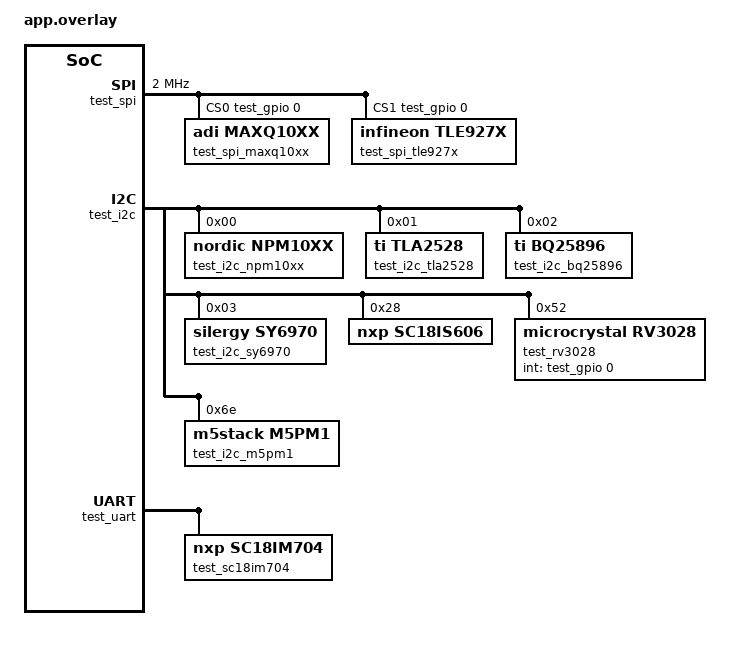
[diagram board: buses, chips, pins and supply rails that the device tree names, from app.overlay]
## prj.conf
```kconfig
CONFIG_TEST=y
CONFIG_GPIO=y
CONFIG_TEST_USERSPACE=y
CONFIG_I2C=y
CONFIG_SPI=y
CONFIG_MFD=y
CONFIG_ENTROPY_GENERATOR=y
CONFIG_SERIAL=y
CONFIG_UART_USE_RUNTIME_CONFIGURE=y
```

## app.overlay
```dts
/*
 * Copyright (c) 2023, Basalte bv
 *
 * SPDX-License-Identifier: Apache-2.0
 *
 * Application overlay for testing driver builds
 *
 * Names in this file should be chosen in a way that won't conflict
 * with real-world devicetree nodes, to allow these tests to run on
 * (and be extended to test) real hardware.
 */

/ {
	test {
		#address-cells = <1>;
		#size-cells = <1>;

		test_spi: spi@33334444 {
			compatible = "vnd,spi";
			reg = <0x33334444 0x1000>;
			#address-cells = <1>;
			#size-cells = <0>;
			clock-frequency = <2000000>;

			/* one entry for every spi devices */
			cs-gpios = <&test_gpio 0 0>,
				   <&test_gpio 0 0>;
			status = "okay";

			test_spi_maxq10xx@0 {
				compatible = "adi,maxq10xx";
				reg = <0x0>;
				spi-max-frequency = <0>;
				status = "okay";

				test_spi_maxq10xx_trng: trng {
					compatible = "adi,maxq10xx-trng";
					status = "okay";
				};
			};

			test_spi_tle927x@1 {
				compatible = "infineon,tle927x";
				reg = <0x1>;
				spi-max-frequency = <0>;
				status = "okay";

				test_tle927x_hwinfo: hwinfo {
					compatible = "infineon,tle927x-hwinfo";
				};
			};
		};

		test_i2c: i2c@33335555 {
			compatible = "vnd,i2c";
			reg = <0x33335555 0x1000>;
			#address-cells = <1>;
			#size-cells = <0>;
			status = "okay";

			test_i2c_npm10xx: pmic@0 {
				compatible = "nordic,npm10xx";
				reg = <0x0>;
			};

			test_i2c_tla2528: tla2528@1 {
				compatible = "ti,tla2528";
				reg = <0x1>;
				#io-channel-cells = <1>;
			};

			test_i2c_bq25896: bq25896@2 {
				compatible = "ti,bq25896";
				reg = <0x2>;
			};

			test_i2c_sy6970: sy6970@3 {
				compatible = "silergy,sy6970";
				reg = <0x3>;
			};

			sc18is606: sc18is606@28 {
				compatible = "nxp,sc18is606";
				reg = <0x28>;
				status = "okay";

				spi_ext: sc18is606_spi {
					compatible = "nxp,sc18is606-spi";
					#address-cells = <1>;
					#size-cells = <0>;
					frequency = <1875>;
					status = "okay";
				};

				gpio_ext: sc18is606_gpio {
					compatible = "nxp,sc18is606-gpio";
					gpio-controller;
					#gpio-cells = <2>;
					ngpios = <3>;
					status = "okay";
				};
			};

			test_rv3028: rv3028@52 {
				compatible = "microcrystal,rv3028";
				reg = <0x52>;
				int-gpios = <&test_gpio 0 0>;
				backup-switch-mode = "disabled";
				status = "okay";
			};

			test_i2c_m5pm1: pmic@6e {
				compatible = "m5stack,m5pm1";
				reg = <0x6e>;
			};
		};

		test_uart: uart@55556666 {
			compatible = "vnd,serial";
			reg = <0x55556666 0x1000>;
			status = "okay";

			test_sc18im704: sc18im704 {
				compatible = "nxp,sc18im704";
				status = "okay";

				test_i2c_ext: sc18im704_i2c {
					compatible = "nxp,sc18im704-i2c";
					#address-cells = <1>;
					#size-cells = <0>;
					status = "okay";
				};

				test_gpio_ext: sc18im704_gpio {
					compatible = "nxp,sc18im704-gpio";
					gpio-controller;
					#gpio-cells = <2>;
					ngpios = <8>;
					status = "okay";
				};
			};
		};

		test_gpio: gpio@deadbeef {
			compatible = "vnd,gpio";
			reg = <0xdeadbeef 0x1000>;
			gpio-controller;
			#gpio-cells = <0x2>;
			status = "okay";
		};
	};
};
```

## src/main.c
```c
/*
 * Copyright (c) 2012-2014 Wind River Systems, Inc.
 *
 * SPDX-License-Identifier: Apache-2.0
 */

int main(void)
{
	return 0;
}
```
